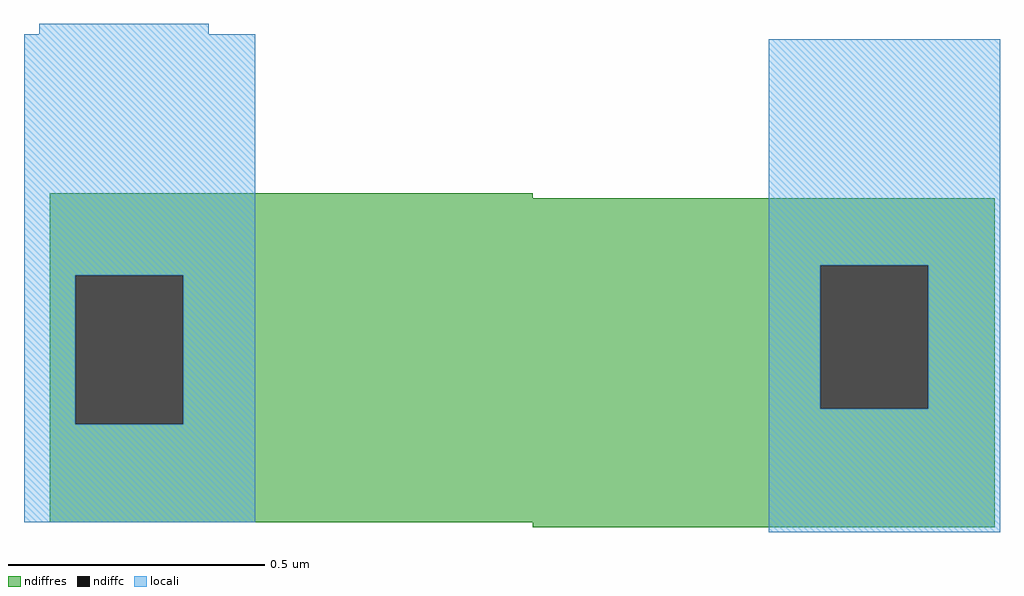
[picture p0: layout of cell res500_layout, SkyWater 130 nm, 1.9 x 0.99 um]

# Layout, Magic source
magic
tech sky130A
<< ndiffc >>
rect 119 -123 140 -94
rect 264 -120 285 -92
<< ndiffres >>
rect 114 -79 208 -78
rect 114 -92 298 -79
rect 114 -94 264 -92
rect 114 -123 119 -94
rect 140 -120 264 -94
rect 285 -120 298 -92
rect 140 -123 298 -120
rect 114 -142 298 -123
rect 208 -143 298 -142
<< locali >>
rect 112 -47 145 -45
rect 109 -94 154 -47
rect 109 -123 119 -94
rect 140 -123 154 -94
rect 109 -142 154 -123
rect 254 -92 299 -48
rect 254 -120 264 -92
rect 285 -120 299 -92
rect 254 -144 299 -120
<< end >>
